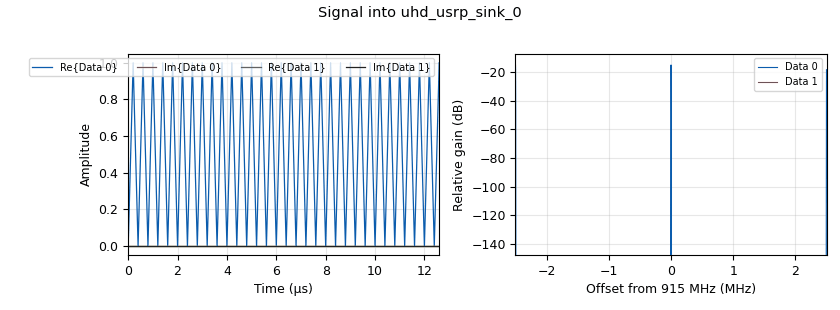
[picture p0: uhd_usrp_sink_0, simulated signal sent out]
<?xml version='1.0' encoding='utf-8'?>
<?grc format='1' created='3.7.5'?>
<flow_graph>
<block>
<key>variable</key>
<param><key>id</key><value>mclk</value></param>
<param><key>value</key><value>2*samp_rate</value></param>
</block>
<block>
<key>variable</key>
<param><key>id</key><value>items</value></param>
<param><key>value</key><value>int(samp_rate*0.3)</value></param>
</block>
<block>
<key>variable</key>
<param><key>id</key><value>center_freq</value></param>
<param><key>value</key><value>915e6</value></param>
</block>
<block>
<key>variable</key>
<param><key>id</key><value>tx_gain</value></param>
<param><key>value</key><value>10</value></param>
</block>
<block>
<key>variable</key>
<param><key>id</key><value>rx_gain</value></param>
<param><key>value</key><value>10</value></param>
</block>
<block>
<key>variable</key>
<param><key>id</key><value>samp_rate</value></param>
<param><key>value</key><value>5e6</value></param>
</block>
<block>
<key>uhd_usrp_source</key>
<param><key>id</key><value>uhd_usrp_source_0</value></param>
<param><key>type</key><value>fc32</value></param>
<param><key>dev_args</key><value>""</value></param>
<param><key>sync</key><value></value></param>
<param><key>clock_rate</key><value>mclk</value></param>
<param><key>nchan</key><value>2</value></param>
<param><key>samp_rate</key><value>samp_rate</value></param>
<param><key>center_freq0</key><value>center_freq</value></param>
<param><key>gain0</key><value>rx_gain</value></param>
<param><key>ant0</key><value></value></param>
<param><key>center_freq1</key><value>center_freq</value></param>
<param><key>gain1</key><value>rx_gain</value></param>
<param><key>ant1</key><value></value></param>
</block>
<block>
<key>uhd_usrp_sink</key>
<param><key>id</key><value>uhd_usrp_sink_0</value></param>
<param><key>type</key><value>fc32</value></param>
<param><key>dev_args</key><value>""</value></param>
<param><key>sync</key><value></value></param>
<param><key>clock_rate</key><value>mclk</value></param>
<param><key>nchan</key><value>2</value></param>
<param><key>samp_rate</key><value>samp_rate</value></param>
<param><key>center_freq0</key><value>center_freq</value></param>
<param><key>gain0</key><value>tx_gain</value></param>
<param><key>ant0</key><value></value></param>
<param><key>center_freq1</key><value>center_freq</value></param>
<param><key>gain1</key><value>tx_gain</value></param>
<param><key>ant1</key><value></value></param>
<param><key>len_tag_name</key><value></value></param>
</block>
<block>
<key>blocks_head</key>
<param><key>id</key><value>blocks_head_0_0</value></param>
<param><key>type</key><value>complex</value></param>
<param><key>num_items</key><value>items</value></param>
</block>
<block>
<key>blocks_head</key>
<param><key>id</key><value>blocks_head_0_0_0</value></param>
<param><key>type</key><value>complex</value></param>
<param><key>num_items</key><value>items</value></param>
</block>
<block>
<key>blocks_head</key>
<param><key>id</key><value>blocks_head_0</value></param>
<param><key>type</key><value>complex</value></param>
<param><key>num_items</key><value>items</value></param>
</block>
<block>
<key>blocks_vector_sink_x</key>
<param><key>id</key><value>blocks_vector_sink_x_1</value></param>
<param><key>type</key><value>complex</value></param>
</block>
<block>
<key>blocks_null_source</key>
<param><key>id</key><value>blocks_null_source_0</value></param>
<param><key>type</key><value>complex</value></param>
<param><key>bus_conns</key><value>[[0,],]</value></param>
</block>
<block>
<key>blocks_vector_sink_x</key>
<param><key>id</key><value>blocks_vector_sink_x_0</value></param>
<param><key>type</key><value>complex</value></param>
</block>
<block>
<key>options</key>
<param><key>id</key><value>my_top_block</value></param>
<param><key>generate_options</key><value>wx_gui</value></param>
<param><key>category</key><value>Custom</value></param>
</block>
<block>
<key>blocks_vector_source_x</key>
<param><key>id</key><value>blocks_vector_source_x_0</value></param>
<param><key>type</key><value>complex</value></param>
<param><key>vector</key><value>(0,1)</value></param>
<param><key>repeat</key><value>True</value></param>
</block>
<connection><source_block_id>blocks_head_0</source_block_id><sink_block_id>uhd_usrp_sink_0</sink_block_id><source_key>0</source_key><sink_key>0</sink_key></connection>
<connection><source_block_id>blocks_null_source_0</source_block_id><sink_block_id>uhd_usrp_sink_0</sink_block_id><source_key>0</source_key><sink_key>1</sink_key></connection>
<connection><source_block_id>uhd_usrp_source_0</source_block_id><sink_block_id>blocks_head_0_0</sink_block_id><source_key>0</source_key><sink_key>0</sink_key></connection>
<connection><source_block_id>uhd_usrp_source_0</source_block_id><sink_block_id>blocks_head_0_0_0</sink_block_id><source_key>1</source_key><sink_key>0</sink_key></connection>
<connection><source_block_id>blocks_vector_source_x_0</source_block_id><sink_block_id>blocks_head_0</sink_block_id><source_key>0</source_key><sink_key>0</sink_key></connection>
<connection><source_block_id>blocks_head_0_0</source_block_id><sink_block_id>blocks_vector_sink_x_1</sink_block_id><source_key>0</source_key><sink_key>0</sink_key></connection>
<connection><source_block_id>blocks_head_0_0_0</source_block_id><sink_block_id>blocks_vector_sink_x_0</sink_block_id><source_key>0</source_key><sink_key>0</sink_key></connection>
</flow_graph>
